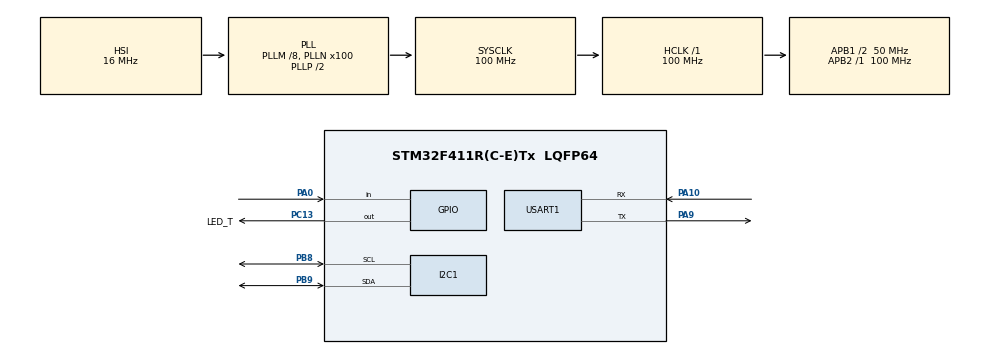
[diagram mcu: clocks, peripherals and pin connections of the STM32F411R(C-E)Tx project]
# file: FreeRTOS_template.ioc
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FREERTOS.Tasks01=defaultTask,8,128,StartDefaultTask,Default,NULL,Dynamic,NULL,NULL;LED_Task,9,128,LedTaskFunc,Default,NULL,Dynamic,NULL,NULL;Log_Task,9,128,LogTaskFunc,Default,NULL,Dynamic,NULL,NULL
Mcu.Family=STM32F4
Mcu.Name=STM32F411R(C-E)Tx
Mcu.Package=LQFP64
NVIC.PriorityGroup=NVIC_PRIORITYGROUP_4
NVIC.TIM1_TRG_COM_TIM11_IRQn=true\:15\:0\:false\:false\:true\:false\:false\:true\:true
NVIC.TimeBase=TIM1_TRG_COM_TIM11_IRQn
NVIC.TimeBaseIP=TIM11
PA0-WKUP.GPIO_PuPd=GPIO_PULLUP
PA0-WKUP.Signal=GPIO_Input
PA10.Mode=Asynchronous
PA10.Signal=USART1_RX
PA13.Mode=Serial_Wire
PA13.Signal=SYS_JTMS-SWDIO
PA14.Mode=Serial_Wire
PA14.Signal=SYS_JTCK-SWCLK
PA9.Mode=Asynchronous
PA9.Signal=USART1_TX
PB8.Mode=I2C
PB8.Signal=I2C1_SCL
PB9.Mode=I2C
PB9.Signal=I2C1_SDA
PC13-ANTI_TAMP.GPIO_Label=LED_T
PC13-ANTI_TAMP.Signal=GPIO_Output
PC14-OSC32_IN.Mode=LSE-External-Oscillator
PC14-OSC32_IN.Signal=RCC_OSC32_IN
PC15-OSC32_OUT.Mode=LSE-External-Oscillator
PC15-OSC32_OUT.Signal=RCC_OSC32_OUT
PH0\ -\ OSC_IN.Mode=HSE-External-Oscillator
PH0\ -\ OSC_IN.Signal=RCC_OSC_IN
PH1\ -\ OSC_OUT.Mode=HSE-External-Oscillator
PH1\ -\ OSC_OUT.Signal=RCC_OSC_OUT
ProjectManager.HeapSize=0x200
ProjectManager.StackSize=0x400
ProjectManager.TargetToolchain=MDK-ARM V5.32
RCC.48MHZClocksFreq_Value=50000000
RCC.AHBFreq_Value=100000000
RCC.APB1CLKDivider=RCC_HCLK_DIV2
RCC.APB1Freq_Value=50000000
RCC.APB1TimFreq_Value=100000000
RCC.APB2Freq_Value=100000000
RCC.APB2TimFreq_Value=100000000
RCC.CortexFreq_Value=100000000
RCC.HCLKFreq_Value=100000000
RCC.HSE_VALUE=25000000
RCC.HSI_VALUE=16000000
RCC.PLLM=8
RCC.PLLN=100
RCC.SYSCLKFreq_VALUE=100000000
RCC.SYSCLKSource=RCC_SYSCLKSOURCE_PLLCLK
RCC.VCOOutputFreq_Value=200000000
USART1.VirtualMode=VM_ASYNC
VP_FREERTOS_VS_CMSIS_V2.Mode=CMSIS_V2
VP_SYS_VS_tim11.Mode=TIM11
board=custom

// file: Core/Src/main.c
/* USER CODE BEGIN Header */
/**
  ******************************************************************************
  * @file           : main.c
  * @brief          : Main program body
  ******************************************************************************
  * @attention
  *
  * Copyright (c) 2023 STMicroelectronics.
  * All rights reserved.
  *
  * This software is licensed under terms that can be found in the LICENSE file
  * in the root directory of this software component.
  * If no LICENSE file comes with this software, it is provided AS-IS.
  *
  ******************************************************************************
  */
/* USER CODE END Header */
#include "main.h"
#include "cmsis_os.h"
#include "i2c.h"
#include "usart.h"
#include "gpio.h"

/* USER CODE BEGIN PV */
volatile uint32_t FreeRTOSRunTimeTicks;
volatile uint32_t idle_count = 0;
void ConfigureTimerForRunTimeStats(void)
{
	FreeRTOSRunTimeTicks = 0;
}

void vApplicationTickHook(void)
{
  FreeRTOSRunTimeTicks++;

  BaseType_t xHigherPriorityTaskWoken = pdFALSE;
  vTaskNotifyGiveFromISR(ledTaskHandle, &xHigherPriorityTaskWoken
  );
  portYIELD_FROM_ISR(xHigherPriorityTaskWoken);
}

/* USER CODE END PV */

void SystemClock_Config(void);
void MX_FREERTOS_Init(void);

int main(void)
{

  /* MCU Configuration--------------------------------------------------------*/

  /* Reset of all peripherals, Initializes the Flash interface and the Systick. */
  HAL_Init();

  /* Configure the system clock */
  SystemClock_Config();

  /* Initialize all configured peripherals */
  MX_GPIO_Init();
  MX_USART1_UART_Init();
  MX_I2C1_Init();

  /* Init scheduler */
  osKernelInitialize();  /* Call init function for freertos objects (in freertos.c) */
  MX_FREERTOS_Init();

  /* Start scheduler */
  osKernelStart();

  /* We should never get here as control is now taken by the scheduler */
  /* Infinite loop */
  while (1)
  {

  }
}

void SystemClock_Config(void)
{
  RCC_OscInitTypeDef RCC_OscInitStruct = {0};
  RCC_ClkInitTypeDef RCC_ClkInitStruct = {0};

  /** Configure the main internal regulator output voltage
  */
  __HAL_RCC_PWR_CLK_ENABLE();
  __HAL_PWR_VOLTAGESCALING_CONFIG(PWR_REGULATOR_VOLTAGE_SCALE1);

  /** Initializes the RCC Oscillators according to the specified parameters
  * in the RCC_OscInitTypeDef structure.
  */
  RCC_OscInitStruct.OscillatorType = RCC_OSCILLATORTYPE_HSI;
  RCC_OscInitStruct.HSIState = RCC_HSI_ON;
  RCC_OscInitStruct.HSICalibrationValue = RCC_HSICALIBRATION_DEFAULT;
  RCC_OscInitStruct.PLL.PLLState = RCC_PLL_ON;
  RCC_OscInitStruct.PLL.PLLSource = RCC_PLLSOURCE_HSI;
  RCC_OscInitStruct.PLL.PLLM = 8;
  RCC_OscInitStruct.PLL.PLLN = 100;
  RCC_OscInitStruct.PLL.PLLP = RCC_PLLP_DIV2;
  RCC_OscInitStruct.PLL.PLLQ = 4;
  if (HAL_RCC_OscConfig(&RCC_OscInitStruct) != HAL_OK)
  {
    Error_Handler();
  }

  /** Initializes the CPU, AHB and APB buses clocks
  */
  RCC_ClkInitStruct.ClockType = RCC_CLOCKTYPE_HCLK|RCC_CLOCKTYPE_SYSCLK
                              |RCC_CLOCKTYPE_PCLK1|RCC_CLOCKTYPE_PCLK2;
  RCC_ClkInitStruct.SYSCLKSource = RCC_SYSCLKSOURCE_PLLCLK;
  RCC_ClkInitStruct.AHBCLKDivider = RCC_SYSCLK_DIV1;
  RCC_ClkInitStruct.APB1CLKDivider = RCC_HCLK_DIV2;
  RCC_ClkInitStruct.APB2CLKDivider = RCC_HCLK_DIV1;

  if (HAL_RCC_ClockConfig(&RCC_ClkInitStruct, FLASH_LATENCY_3) != HAL_OK)
  {
    Error_Handler();
  }
}

void HAL_TIM_PeriodElapsedCallback(TIM_HandleTypeDef *htim)
{
  if (htim->Instance == TIM11) {
    HAL_IncTick();
  }
}

void Error_Handler(void)
{
  __disable_irq();
  while (1)
  {
  }
}

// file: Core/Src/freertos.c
/* USER CODE BEGIN Header */
/**
  ******************************************************************************
  * File Name          : freertos.c
  * Description        : Code for freertos applications
  ******************************************************************************
  */
/* USER CODE END Header */

#include "FreeRTOS.h"
#include "task.h"
#include "main.h"
#include "cmsis_os.h"
#include "i2c.h"

/* USER CODE BEGIN Includes */
#include <stdio.h>
#include <stdarg.h>
#include <stdint.h>
/* USER CODE END Includes */

/* USER CODE BEGIN PTD */

typedef struct
{
  int16_t Accel_X;
  int16_t Accel_Y;
  int16_t Accel_Z;

  int16_t Gyro_X;
  int16_t Gyro_Y;
  int16_t Gyro_Z;
} MPU6050_Data_t;

typedef enum
{
  TAP_STATE_IDLE = 0,
  TAP_STATE_WAIT_SECOND
} TapState_t;

/* USER CODE END PTD */

/* USER CODE BEGIN PD */

#define MPU_ADDR                (0x68 << 1)

#define MPU_DEVICE_ID_REG       0x75
#define MPU_PWR_MGMT1_REG       0x6B
#define MPU_ACCEL_CONFIG_REG    0x1C
#define MPU_GYRO_CONFIG_REG     0x1B
#define MPU_ACCEL_XOUTH_REG     0x3B

#define ACCEL_SCALE_2G          16384.0f

/*
  双击检测参数
  acc_mag = sqrt(ax^2 + ay^2 + az^2)

  静止时 acc_mag 约等于 1g。
  敲击时 acc_mag 会瞬间变大。
*/
#define TAP_ACC_THRESHOLD_G     1.60f
#define TAP_ACC_RELEASE_G       1.25f

#define TAP_MIN_INTERVAL_MS     150U
#define TAP_MAX_INTERVAL_MS     600U
#define TAP_COOLDOWN_MS         1000U

#define SCREEN_ON_TIME_MS       5000U

/* USER CODE END PD */

/* USER CODE BEGIN PM */

#define SCREEN_LED_ON()   HAL_GPIO_WritePin(LED_T_GPIO_Port, LED_T_Pin, GPIO_PIN_SET)
#define SCREEN_LED_OFF()  HAL_GPIO_WritePin(LED_T_GPIO_Port, LED_T_Pin, GPIO_PIN_RESET)

/* 如果你的板子 LED 是低电平亮，就改成：
#define SCREEN_LED_ON()   HAL_GPIO_WritePin(LED_T_GPIO_Port, LED_T_Pin, GPIO_PIN_RESET)
#define SCREEN_LED_OFF()  HAL_GPIO_WritePin(LED_T_GPIO_Port, LED_T_Pin, GPIO_PIN_SET)
*/

/* USER CODE END PM */

/* USER CODE BEGIN Variables */

osMutexId_t uartMutexHandle;

static MPU6050_Data_t mpu6050_data;

/* 双击状态机变量 */
static TapState_t tap_state = TAP_STATE_IDLE;
static uint32_t first_tap_tick = 0;
static uint32_t last_trigger_tick = 0;
static uint8_t tap_armed = 1;

/* USER CODE END Variables */

/* Definitions for defaultTask */
osThreadId_t defaultTaskHandle;
const osThreadAttr_t defaultTask_attributes = {
  .name = "defaultTask",
  .stack_size = 256 * 4,
  .priority = (osPriority_t) osPriorityLow,
};

/* Definitions for LED_Task */
osThreadId_t LED_TaskHandle;
const osThreadAttr_t LED_Task_attributes = {
  .name = "LED_Task",
  .stack_size = 256 * 4,
  .priority = (osPriority_t) osPriorityLow1,
};

/* Definitions for Log_Task */
osThreadId_t Log_TaskHandle;
const osThreadAttr_t Log_Task_attributes = {
  .name = "Log_Task",
  .stack_size = 512 * 4,
  .priority = (osPriority_t) osPriorityLow1,
};

/* USER CODE BEGIN FunctionPrototypes */

static void app_printf(const char *format, ...);

static uint8_t MPU6050_CheckID(void);
static uint8_t MPU6050_InitBasic(void);
static uint8_t MPU6050_ReadRaw(MPU6050_Data_t *data);

static uint32_t MsToTicks(uint32_t ms);
static uint8_t Gesture_DetectDoubleTap(float ax_g, float ay_g, float az_g);

/* USER CODE END FunctionPrototypes */

void StartDefaultTask(void *argument);
void LedTaskFunc(void *argument);
void LogTaskFunc(void *argument);
void MX_FREERTOS_Init(void);

void MX_FREERTOS_Init(void)
{

  /* USER CODE BEGIN RTOS_MUTEX */
  uartMutexHandle = osMutexNew(NULL);
  if (uartMutexHandle == NULL)
  {
    Error_Handler();
  }
  /* USER CODE END RTOS_MUTEX */

  /* Create the thread(s) */
  defaultTaskHandle = osThreadNew(StartDefaultTask, NULL, &defaultTask_attributes);
  LED_TaskHandle = osThreadNew(LedTaskFunc, NULL, &LED_Task_attributes);
  Log_TaskHandle = osThreadNew(LogTaskFunc, NULL, &Log_Task_attributes);

}

/**
  * @brief defaultTask
  */
void StartDefaultTask(void *argument)
{
  for (;;)
  {
    osDelay(1000);
  }
}

/**
  * @brief LED_Task
  * 这里不要再闪 LED，因为 LED 要模拟屏幕亮灭。
  */
void LedTaskFunc(void *argument)
{
  for (;;)
  {
    osDelay(1000);
  }
}

/**
  * @brief Log_Task：读取 MPU6050，检测双击，控制 LED 亮屏
  */
void LogTaskFunc(void *argument)
{
  float ax_g = 0.0f;
  float ay_g = 0.0f;
  float az_g = 0.0f;

  float acc_mag_sq = 0.0f;

  uint8_t double_tap = 0;
  uint8_t screen_on = 0;

  uint32_t screen_on_tick = 0;
  uint32_t now_tick = 0;

  osDelay(1000);

  SCREEN_LED_OFF();

  if (MPU6050_CheckID() != 0)
  {
    app_printf("MPU6050 check failed\r\n");

    for (;;)
    {
      osDelay(1000);
    }
  }

  if (MPU6050_InitBasic() != 0)
  {
    app_printf("MPU6050 init failed\r\n");

    for (;;)
    {
      osDelay(1000);
    }
  }

  /*
    如果你要用 VOFA+ FireWater，
    建议不要输出文字，只输出数字。
  */
  app_printf("Double tap wake demo start\r\n");

  for (;;)
  {
    double_tap = 0;

    if (MPU6050_ReadRaw(&mpu6050_data) == 0)
    {
      ax_g = (float)mpu6050_data.Accel_X / ACCEL_SCALE_2G;
      ay_g = (float)mpu6050_data.Accel_Y / ACCEL_SCALE_2G;
      az_g = (float)mpu6050_data.Accel_Z / ACCEL_SCALE_2G;

      acc_mag_sq = ax_g * ax_g + ay_g * ay_g + az_g * az_g;

      double_tap = Gesture_DetectDoubleTap(ax_g, ay_g, az_g);

      if (double_tap)
      {
        screen_on = 1;
        screen_on_tick = osKernelGetTickCount();
        SCREEN_LED_ON();
      }

      if (screen_on)
      {
        now_tick = osKernelGetTickCount();

        if ((now_tick - screen_on_tick) >= MsToTicks(SCREEN_ON_TIME_MS))
        {
          screen_on = 0;
          SCREEN_LED_OFF();
        }
      }

      /*
        VOFA+ FireWater：
        CH0 = acc_mag_sq
        CH1 = double_tap
        CH2 = screen_on

        acc_mag_sq 静止时约等于 1.0。
        敲击时会出现尖峰。
      */
      app_printf("%.3f,%d,%d\r\n",
                 acc_mag_sq,
                 double_tap,
                 screen_on);
    }

    osDelay(20);
  }
}

/* USER CODE BEGIN Application */

static uint8_t MPU6050_CheckID(void)
{
  uint8_t who = 0;

  if (HAL_I2C_IsDeviceReady(&hi2c1, MPU_ADDR, 3, 100) != HAL_OK)
  {
    app_printf("MPU6050 not ready\r\n");
    return 1;
  }

  if (HAL_I2C_Mem_Read(&hi2c1,
                       MPU_ADDR,
                       MPU_DEVICE_ID_REG,
                       I2C_MEMADD_SIZE_8BIT,
                       &who,
                       1,
                       100) != HAL_OK)
  {
    app_printf("Read WHO_AM_I failed\r\n");
    return 2;
  }

  app_printf("WHO_AM_I = 0x%02X\r\n", who);

  if ((who == 0x68) || (who == 0x70))
  {
    return 0;
  }

  return 3;
}

static uint8_t MPU6050_InitBasic(void)
{
  uint8_t data = 0;

  /*
    PWR_MGMT_1 = 0x00
    退出睡眠模式
  */
  data = 0x00;
  if (HAL_I2C_Mem_Write(&hi2c1,
                        MPU_ADDR,
                        MPU_PWR_MGMT1_REG,
                        I2C_MEMADD_SIZE_8BIT,
                        &data,
                        1,
                        100) != HAL_OK)
  {
    return 1;
  }

  /*
    ACCEL_CONFIG = 0x00
    加速度量程 ±2g
  */
  data = 0x00;
  if (HAL_I2C_Mem_Write(&hi2c1,
                        MPU_ADDR,
                        MPU_ACCEL_CONFIG_REG,
                        I2C_MEMADD_SIZE_8BIT,
                        &data,
                        1,
                        100) != HAL_OK)
  {
    return 2;
  }

  /*
    GYRO_CONFIG = 0x00
    陀螺仪量程 ±250 dps
    虽然双击主要用加速度，但这里顺手初始化好。
  */
  data = 0x00;
  if (HAL_I2C_Mem_Write(&hi2c1,
                        MPU_ADDR,
                        MPU_GYRO_CONFIG_REG,
                        I2C_MEMADD_SIZE_8BIT,
                        &data,
                        1,
                        100) != HAL_OK)
  {
    return 3;
  }

  return 0;
}

static uint8_t MPU6050_ReadRaw(MPU6050_Data_t *data)
{
  uint8_t buf[14];

  if (HAL_I2C_Mem_Read(&hi2c1,
                       MPU_ADDR,
                       MPU_ACCEL_XOUTH_REG,
                       I2C_MEMADD_SIZE_8BIT,
                       buf,
                       14,
                       100) != HAL_OK)
  {
    return 1;
  }

  data->Accel_X = (int16_t)(((uint16_t)buf[0] << 8) | buf[1]);
  data->Accel_Y = (int16_t)(((uint16_t)buf[2] << 8) | buf[3]);
  data->Accel_Z = (int16_t)(((uint16_t)buf[4] << 8) | buf[5]);

  data->Gyro_X = (int16_t)(((uint16_t)buf[8] << 8) | buf[9]);
  data->Gyro_Y = (int16_t)(((uint16_t)buf[10] << 8) | buf[11]);
  data->Gyro_Z = (int16_t)(((uint16_t)buf[12] << 8) | buf[13]);

  return 0;
}

static uint32_t MsToTicks(uint32_t ms)
{
  return (uint32_t)(((uint64_t)ms * osKernelGetTickFreq()) / 1000U);
}

/**
  * @brief 双击检测
  * @return 1：检测到双击；0：未检测到
  */
static uint8_t Gesture_DetectDoubleTap(float ax_g, float ay_g, float az_g)
{
  float acc_mag_sq;
  uint32_t now_tick;
  uint32_t dt_tick;

  uint32_t min_interval_tick = MsToTicks(TAP_MIN_INTERVAL_MS);
  uint32_t max_interval_tick = MsToTicks(TAP_MAX_INTERVAL_MS);
  uint32_t cooldown_tick     = MsToTicks(TAP_COOLDOWN_MS);

  uint8_t tap_event = 0;

  const float tap_threshold_sq = TAP_ACC_THRESHOLD_G * TAP_ACC_THRESHOLD_G;
  const float tap_release_sq   = TAP_ACC_RELEASE_G * TAP_ACC_RELEASE_G;

  now_tick = osKernelGetTickCount();

  acc_mag_sq = ax_g * ax_g + ay_g * ay_g + az_g * az_g;

  /*
    冷却时间内不再触发，防止连续亮屏。
  */
  if ((now_tick - last_trigger_tick) < cooldown_tick)
  {
    return 0;
  }

  /*
    重新武装：
    只有加速度幅值回落到 release 阈值以下，
    才允许检测下一次敲击。
    这样可以避免一次敲击的震荡被当成多次敲击。
  */
  if (acc_mag_sq < tap_release_sq)
  {
    tap_armed = 1;
  }

  /*
    检测一次新的敲击峰值。
  */
  if ((tap_armed == 1) && (acc_mag_sq > tap_threshold_sq))
  {
    tap_event = 1;
    tap_armed = 0;
  }

  if (tap_state == TAP_STATE_IDLE)
  {
    if (tap_event)
    {
      first_tap_tick = now_tick;
      tap_state = TAP_STATE_WAIT_SECOND;
    }
  }
  else if (tap_state == TAP_STATE_WAIT_SECOND)
  {
    dt_tick = now_tick - first_tap_tick;

    if (tap_event)
    {
      if ((dt_tick >= min_interval_tick) && (dt_tick <= max_interval_tick))
      {
        tap_state = TAP_STATE_IDLE;
        last_trigger_tick = now_tick;
        return 1;
      }
      else if (dt_tick > max_interval_tick)
      {
        /*
          超过最大间隔后来的敲击，当成新的第一次敲击。
        */
        first_tap_tick = now_tick;
      }
    }

    if (dt_tick > max_interval_tick)
    {
      tap_state = TAP_STATE_IDLE;
    }
  }

  return 0;
}

static void app_printf(const char *format, ...)
{
  va_list args;

  if (uartMutexHandle != NULL)
  {
    osMutexAcquire(uartMutexHandle, osWaitForever);
  }

  va_start(args, format);
  vprintf(format, args);
  va_end(args);

  if (uartMutexHandle != NULL)
  {
    osMutexRelease(uartMutexHandle);
  }
}

/* USER CODE END Application */
